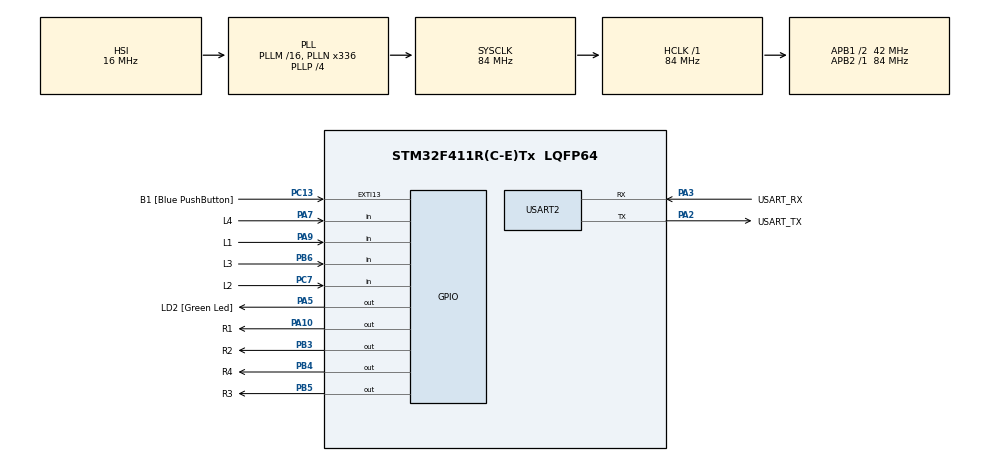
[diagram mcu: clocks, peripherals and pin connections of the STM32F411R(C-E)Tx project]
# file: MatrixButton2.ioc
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Mcu.Family=STM32F4
Mcu.Name=STM32F411R(C-E)Tx
Mcu.Package=LQFP64
NVIC.PriorityGroup=NVIC_PRIORITYGROUP_0
PA10.GPIO_Label=R1
PA10.GPIO_ModeDefaultOutputPP=GPIO_MODE_OUTPUT_OD
PA10.GPIO_PuPd=GPIO_NOPULL
PA10.PinState=GPIO_PIN_SET
PA10.Signal=GPIO_Output
PA13.GPIO_Label=TMS
PA13.Mode=Serial_Wire
PA13.Signal=SYS_JTMS-SWDIO
PA14.GPIO_Label=TCK
PA14.Mode=Serial_Wire
PA14.Signal=SYS_JTCK-SWCLK
PA2.GPIO_Label=USART_TX
PA2.Mode=Asynchronous
PA2.Signal=USART2_TX
PA3.GPIO_Label=USART_RX
PA3.Mode=Asynchronous
PA3.Signal=USART2_RX
PA5.GPIO_Label=LD2 [Green Led]
PA5.Signal=GPIO_Output
PA7.GPIO_Label=L4
PA7.GPIO_PuPd=GPIO_PULLUP
PA7.Signal=GPIO_Input
PA9.GPIO_Label=L1
PA9.GPIO_PuPd=GPIO_PULLUP
PA9.Signal=GPIO_Input
PB3.GPIO_Label=R2
PB3.GPIO_ModeDefaultOutputPP=GPIO_MODE_OUTPUT_OD
PB3.GPIO_PuPd=GPIO_NOPULL
PB3.PinState=GPIO_PIN_SET
PB3.Signal=GPIO_Output
PB4.GPIO_Label=R4
PB4.GPIO_ModeDefaultOutputPP=GPIO_MODE_OUTPUT_OD
PB4.GPIO_PuPd=GPIO_NOPULL
PB4.GPIO_Speed=GPIO_SPEED_FREQ_LOW
PB4.PinState=GPIO_PIN_SET
PB4.Signal=GPIO_Output
PB5.GPIO_Label=R3
PB5.GPIO_ModeDefaultOutputPP=GPIO_MODE_OUTPUT_OD
PB5.GPIO_PuPd=GPIO_NOPULL
PB5.PinState=GPIO_PIN_SET
PB5.Signal=GPIO_Output
PB6.GPIO_Label=L3
PB6.GPIO_PuPd=GPIO_PULLUP
PB6.Signal=GPIO_Input
PC13-ANTI_TAMP.GPIO_Label=B1 [Blue PushButton]
PC13-ANTI_TAMP.GPIO_ModeDefaultEXTI=GPIO_MODE_IT_FALLING
PC13-ANTI_TAMP.Signal=GPXTI13
PC14-OSC32_IN.Mode=LSE-External-Oscillator
PC14-OSC32_IN.Signal=RCC_OSC32_IN
PC15-OSC32_OUT.Mode=LSE-External-Oscillator
PC15-OSC32_OUT.Signal=RCC_OSC32_OUT
PC7.GPIO_Label=L2
PC7.GPIO_PuPd=GPIO_PULLUP
PC7.Signal=GPIO_Input
PH0\ -\ OSC_IN.Mode=HSE-External-Clock-Source
PH0\ -\ OSC_IN.Signal=RCC_OSC_IN
PH1\ -\ OSC_OUT.Mode=HSE-External-Clock-Source
PH1\ -\ OSC_OUT.Signal=RCC_OSC_OUT
ProjectManager.HeapSize=0x200
ProjectManager.StackSize=0x400
ProjectManager.TargetToolchain=STM32CubeIDE
RCC.48MHZClocksFreq_Value=84000000
RCC.AHBFreq_Value=84000000
RCC.APB1CLKDivider=RCC_HCLK_DIV2
RCC.APB1Freq_Value=42000000
RCC.APB1TimFreq_Value=84000000
RCC.APB2Freq_Value=84000000
RCC.APB2TimFreq_Value=84000000
RCC.CortexFreq_Value=84000000
RCC.FLatency-AdvancedSettings=FLASH_LATENCY_2
RCC.HCLKFreq_Value=84000000
RCC.HSE_VALUE=8000000
RCC.HSI_VALUE=16000000
RCC.PLLN=336
RCC.PLLP=RCC_PLLP_DIV4
RCC.SYSCLKFreq_VALUE=84000000
RCC.SYSCLKSource=RCC_SYSCLKSOURCE_PLLCLK
RCC.VCOOutputFreq_Value=336000000
USART2.VirtualMode=VM_ASYNC
board=NUCLEO-F411RE

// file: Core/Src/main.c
/* USER CODE BEGIN Header */
/**
  ******************************************************************************
  * @file           : main.c
  * @brief          : Main program body
  ******************************************************************************
  * @attention
  *
  * Copyright (c) 2023 STMicroelectronics.
  * All rights reserved.
  *
  * This software is licensed under terms that can be found in the LICENSE file
  * in the root directory of this software component.
  * If no LICENSE file comes with this software, it is provided AS-IS.
  *
  ******************************************************************************
  */
/* USER CODE END Header */
#include "main.h"

UART_HandleTypeDef huart2;

/* USER CODE BEGIN PV */

//create Structure of PortPin ,Typedef it to type name PortPin
typedef struct _PortPin
{
	GPIO_TypeDef* PORT;
	uint16_t PIN;
} PortPin;

//declare PortPin R,L
PortPin R[4] =
{
		{GPIOA,GPIO_PIN_10},
		{GPIOB,GPIO_PIN_3},
		{GPIOB,GPIO_PIN_5},
		{GPIOB,GPIO_PIN_4}
};

PortPin L[4] =
{
		{GPIOA,GPIO_PIN_9},
		{GPIOC,GPIO_PIN_7},
		{GPIOB,GPIO_PIN_6},
		{GPIOA,GPIO_PIN_7}
};

//For Button Contenter
uint16_t ButtonMatrix=0;
int check = 0;
uint16_t numberhit = 0;
uint16_t ButtonMatixtemp=0;
uint64_t press=0;
/* USER CODE END PV */

void SystemClock_Config(void);
static void MX_GPIO_Init(void);
static void MX_USART2_UART_Init(void);
/* USER CODE BEGIN PFP */
int checkbuttonhit(uint16_t number);
void ReadMatrixButton_1Row();
uint64_t concat(uint64_t x, uint64_t y);
uint64_t backspace(uint64_t x);
uint64_t numpad(int hit);
/* USER CODE END PFP */

int main(void)
{

  /* MCU Configuration--------------------------------------------------------*/

  /* Reset of all peripherals, Initializes the Flash interface and the Systick. */
  HAL_Init();

  /* Configure the system clock */
  SystemClock_Config();

  /* Initialize all configured peripherals */
  MX_GPIO_Init();
  MX_USART2_UART_Init();

  /* Infinite loop */
  while (1)
  {

    /* USER CODE BEGIN 3 */
	  if(press != 64340500011){
			HAL_GPIO_WritePin(GPIOA, GPIO_PIN_5, GPIO_PIN_RESET);
		}
	  //Call function every 10 ms = 100Hz
	  static uint32_t timestamp=0;
	  if(HAL_GetTick()>=timestamp)
	  {
		  timestamp =HAL_GetTick() + 10;
		  ReadMatrixButton_1Row();
		if(ButtonMatrix == 0){
			ButtonMatixtemp = 0;
		}
		if(ButtonMatixtemp != ButtonMatrix && ButtonMatrix != 0){
			check += 1;
			numberhit = checkbuttonhit(ButtonMatrix);
			press = numpad(numberhit);
			ButtonMatixtemp = ButtonMatrix;
		}
	  }
  }
  /* USER CODE END 3 */
}

void SystemClock_Config(void)
{
  RCC_OscInitTypeDef RCC_OscInitStruct = {0};
  RCC_ClkInitTypeDef RCC_ClkInitStruct = {0};

  /** Configure the main internal regulator output voltage
  */
  __HAL_RCC_PWR_CLK_ENABLE();
  __HAL_PWR_VOLTAGESCALING_CONFIG(PWR_REGULATOR_VOLTAGE_SCALE1);

  /** Initializes the RCC Oscillators according to the specified parameters
  * in the RCC_OscInitTypeDef structure.
  */
  RCC_OscInitStruct.OscillatorType = RCC_OSCILLATORTYPE_HSI;
  RCC_OscInitStruct.HSIState = RCC_HSI_ON;
  RCC_OscInitStruct.HSICalibrationValue = RCC_HSICALIBRATION_DEFAULT;
  RCC_OscInitStruct.PLL.PLLState = RCC_PLL_ON;
  RCC_OscInitStruct.PLL.PLLSource = RCC_PLLSOURCE_HSI;
  RCC_OscInitStruct.PLL.PLLM = 16;
  RCC_OscInitStruct.PLL.PLLN = 336;
  RCC_OscInitStruct.PLL.PLLP = RCC_PLLP_DIV4;
  RCC_OscInitStruct.PLL.PLLQ = 4;
  if (HAL_RCC_OscConfig(&RCC_OscInitStruct) != HAL_OK)
  {
    Error_Handler();
  }

  /** Initializes the CPU, AHB and APB buses clocks
  */
  RCC_ClkInitStruct.ClockType = RCC_CLOCKTYPE_HCLK|RCC_CLOCKTYPE_SYSCLK
                              |RCC_CLOCKTYPE_PCLK1|RCC_CLOCKTYPE_PCLK2;
  RCC_ClkInitStruct.SYSCLKSource = RCC_SYSCLKSOURCE_PLLCLK;
  RCC_ClkInitStruct.AHBCLKDivider = RCC_SYSCLK_DIV1;
  RCC_ClkInitStruct.APB1CLKDivider = RCC_HCLK_DIV2;
  RCC_ClkInitStruct.APB2CLKDivider = RCC_HCLK_DIV1;

  if (HAL_RCC_ClockConfig(&RCC_ClkInitStruct, FLASH_LATENCY_2) != HAL_OK)
  {
    Error_Handler();
  }
}

static void MX_USART2_UART_Init(void)
{

  huart2.Instance = USART2;
  huart2.Init.BaudRate = 115200;
  huart2.Init.WordLength = UART_WORDLENGTH_8B;
  huart2.Init.StopBits = UART_STOPBITS_1;
  huart2.Init.Parity = UART_PARITY_NONE;
  huart2.Init.Mode = UART_MODE_TX_RX;
  huart2.Init.HwFlowCtl = UART_HWCONTROL_NONE;
  huart2.Init.OverSampling = UART_OVERSAMPLING_16;
  if (HAL_UART_Init(&huart2) != HAL_OK)
  {
    Error_Handler();
  }

}

static void MX_GPIO_Init(void)
{
  GPIO_InitTypeDef GPIO_InitStruct = {0};

  /* GPIO Ports Clock Enable */
  __HAL_RCC_GPIOC_CLK_ENABLE();
  __HAL_RCC_GPIOH_CLK_ENABLE();
  __HAL_RCC_GPIOA_CLK_ENABLE();
  __HAL_RCC_GPIOB_CLK_ENABLE();

  /*Configure GPIO pin Output Level */
  HAL_GPIO_WritePin(LD2_GPIO_Port, LD2_Pin, GPIO_PIN_RESET);

  /*Configure GPIO pin Output Level */
  HAL_GPIO_WritePin(R1_GPIO_Port, R1_Pin, GPIO_PIN_SET);

  /*Configure GPIO pin Output Level */
  HAL_GPIO_WritePin(GPIOB, R2_Pin|R4_Pin|R3_Pin, GPIO_PIN_SET);

  /*Configure GPIO pin : B1_Pin */
  GPIO_InitStruct.Pin = B1_Pin;
  GPIO_InitStruct.Mode = GPIO_MODE_IT_FALLING;
  GPIO_InitStruct.Pull = GPIO_NOPULL;
  HAL_GPIO_Init(B1_GPIO_Port, &GPIO_InitStruct);

  /*Configure GPIO pin : LD2_Pin */
  GPIO_InitStruct.Pin = LD2_Pin;
  GPIO_InitStruct.Mode = GPIO_MODE_OUTPUT_PP;
  GPIO_InitStruct.Pull = GPIO_NOPULL;
  GPIO_InitStruct.Speed = GPIO_SPEED_FREQ_LOW;
  HAL_GPIO_Init(LD2_GPIO_Port, &GPIO_InitStruct);

  /*Configure GPIO pins : L4_Pin L1_Pin */
  GPIO_InitStruct.Pin = L4_Pin|L1_Pin;
  GPIO_InitStruct.Mode = GPIO_MODE_INPUT;
  GPIO_InitStruct.Pull = GPIO_PULLUP;
  HAL_GPIO_Init(GPIOA, &GPIO_InitStruct);

  /*Configure GPIO pin : L2_Pin */
  GPIO_InitStruct.Pin = L2_Pin;
  GPIO_InitStruct.Mode = GPIO_MODE_INPUT;
  GPIO_InitStruct.Pull = GPIO_PULLUP;
  HAL_GPIO_Init(L2_GPIO_Port, &GPIO_InitStruct);

  /*Configure GPIO pin : R1_Pin */
  GPIO_InitStruct.Pin = R1_Pin;
  GPIO_InitStruct.Mode = GPIO_MODE_OUTPUT_OD;
  GPIO_InitStruct.Pull = GPIO_NOPULL;
  GPIO_InitStruct.Speed = GPIO_SPEED_FREQ_LOW;
  HAL_GPIO_Init(R1_GPIO_Port, &GPIO_InitStruct);

  /*Configure GPIO pins : R2_Pin R4_Pin R3_Pin */
  GPIO_InitStruct.Pin = R2_Pin|R4_Pin|R3_Pin;
  GPIO_InitStruct.Mode = GPIO_MODE_OUTPUT_OD;
  GPIO_InitStruct.Pull = GPIO_NOPULL;
  GPIO_InitStruct.Speed = GPIO_SPEED_FREQ_LOW;
  HAL_GPIO_Init(GPIOB, &GPIO_InitStruct);

  /*Configure GPIO pin : L3_Pin */
  GPIO_InitStruct.Pin = L3_Pin;
  GPIO_InitStruct.Mode = GPIO_MODE_INPUT;
  GPIO_InitStruct.Pull = GPIO_PULLUP;
  HAL_GPIO_Init(L3_GPIO_Port, &GPIO_InitStruct);

}

/* USER CODE BEGIN 4 */
void ReadMatrixButton_1Row()
{
	//
	static uint8_t X = 0;

	//READ L1-L4
	register int i;
	for(i=0;i<4;i++)
	{
		if(HAL_GPIO_ReadPin(L[i].PORT, L[i].PIN))
		{

			ButtonMatrix &= ~(1<<(X*4+i));

		}
		else
		{
			ButtonMatrix |= 1<<(X*4+i);

		}
	}
	//SET RX
	HAL_GPIO_WritePin(R[X].PORT, R[X].PIN, 1);
	//RESET RX+1%4
	HAL_GPIO_WritePin(R[(X+1)%4].PORT, R[(X+1)%4].PIN, 0);
	X++;
	X%=4;
}
uint64_t concat(uint64_t x, uint64_t y) {
    int pow = 10;
    while (y >= pow){
        pow *= 10;
    }

    return x * pow + y;
}
int checkbuttonhit(uint16_t number){
	uint16_t count = 0;
	if(number != 0) {
	while (number != 1){
		count += 1;
		number = number / 2;
	}
	}
	else {
		count = 0;
	}

	return count;
}
uint64_t backspace(uint64_t x) {
    return x / 10;
}
uint64_t numpad(int hit){
	static uint64_t numpadcheck = 0;
	switch (hit) {
			case 0:
				//printf("You entered 7\n");
				numpadcheck = concat(numpadcheck,7);
				break;
	        case 1:
	            //printf("You entered 4\n");
	            numpadcheck = concat(numpadcheck,4);
	            break;
	        case 2:
	            //printf("You entered 1\n");
	            numpadcheck = concat(numpadcheck,1);
	            break;
	        case 3:
	            //printf("You entered 0\n");
	            numpadcheck = concat(numpadcheck,0);
	            break;
	        case 4:
	            //printf("You entered 8\n");
	            numpadcheck = concat(numpadcheck,8);
	            break;
	        case 5:
	            //printf("You entered 5\n");
	            numpadcheck = concat(numpadcheck,5);
	            break;
	        case 6:
	            //printf("You entered 2\n");
	            numpadcheck = concat(numpadcheck,2);
	            break;
	        case 8:
	            //printf("You entered 9\n");
	            numpadcheck = concat(numpadcheck,9);
	            break;
	        case 9:
	            //printf("You entered 6\n");
	            numpadcheck = concat(numpadcheck,6);
	            break;
	        case 10:
	            //printf("You entered 3\n");
	            numpadcheck = concat(numpadcheck,3);
	            break;
	        case 12:
	            //printf("You entered clear\n");
	            numpadcheck = 0;
	            break;
	        case 13:
	            //printf("You entered backspace\n");
	            numpadcheck = backspace(numpadcheck);
	            break;
	        case 15:
	            //printf("You entered ok\n");
	    		if(press == 64340500011){
	    			HAL_GPIO_WritePin(GPIOA, GPIO_PIN_5, GPIO_PIN_SET);
	    		}
	            break;
	        default:
	            //printf("Invalid input\n");
	            break;
	    }
	return numpadcheck;
}
/* USER CODE END 4 */

void Error_Handler(void)
{
  __disable_irq();
  while (1)
  {
  }
}
